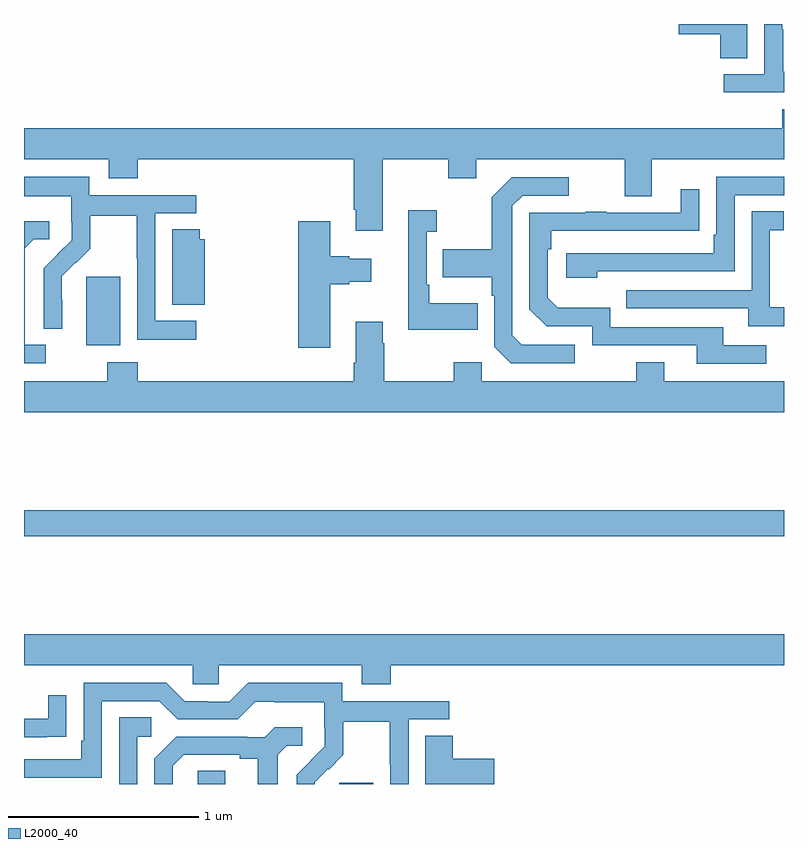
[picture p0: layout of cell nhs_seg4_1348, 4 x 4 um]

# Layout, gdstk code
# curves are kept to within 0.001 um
import gdstk
lib = gdstk.Library(unit=1e-6, precision=1e-09)
def R(c, l, rs):  # rectangles x0, y0, x1, y1
    for r in rs: c.add(gdstk.rectangle(r[:2], r[2:], *l))
def P(c, l, *ps):  # polygons
    for p in ps: c.add(gdstk.Polygon(p, *l))
L2000_40 = (2000, 40)

nhs_seg4_1348 = lib.new_cell('nhs_seg4_1348')
R(nhs_seg4_1348, L2000_40, [(181.914,758.9,182.059,758.969), (182.66,758.9,182.839,758.907), (181,760.204,185,760.34), (181.328,761.21,181.507,761.571)])
P(nhs_seg4_1348, L2000_40, [(184.807,762.9),(184.446,762.9),(184.446,762.845),(184.664,762.845),(184.664,762.721),(184.807,762.721)],
  [(185,762.649),(184.995,762.649),(184.995,762.872),(184.992,762.872),(184.992,762.9),(184.896,762.9),(184.896,762.636),(184.683,762.636),(184.683,762.54),(185,762.54)],
  [(181,762.188),(181.445,762.188),(181.445,762.089),(181.598,762.089),(181.598,762.188),(182.735,762.188),(182.735,761.923),(182.747,761.923),(182.747,761.811),(182.887,761.811),(182.887,762.188),(183.232,762.188),(183.232,762.089),(183.379,762.089),(183.379,762.188),(184.163,762.188),(184.163,761.994),(184.303,761.994),(184.303,762.188),(185,762.188),(185,762.451),(184.991,762.451),(184.991,762.352),(181,762.352)],
  [(181.906,761.337),(181.692,761.337),(181.692,761.904),(181.906,761.904),(181.906,762),(181.344,762),(181.344,762.097),(181,762.097),(181,761.993),(181.248,761.993),(181.248,761.859),(181.25,761.859),(181.25,761.762),(181.104,761.614),(181.104,761.296),(181.2,761.296),(181.199,761.573),(181.269,761.643),(181.272,761.64),(181.349,761.717),(181.349,761.892),(181.594,761.892),(181.594,761.668),(181.596,761.668),(181.596,761.239),(181.906,761.239)],
  [(184.016,761.598),(184.74,761.598),(184.74,762),(185,762),(185,762.096),(184.644,762.096),(184.644,761.791),(184.631,761.791),(184.631,761.694),(183.855,761.694),(183.855,761.564),(184.016,761.564)],
  [(183.898,761.211),(183.621,761.211),(183.57,761.262),(183.57,761.943),(183.624,761.997),(183.868,761.997),(183.868,762.093),(183.567,762.093),(183.462,761.987),(183.462,761.715),(183.205,761.715),(183.205,761.567),(183.462,761.567),(183.462,761.471),(183.474,761.471),(183.474,761.202),(183.561,761.115),(183.898,761.115)],
  [(184.906,761.208),(184.681,761.208),(184.681,761.304),(184.086,761.304),(184.086,761.407),(183.809,761.407),(183.756,761.46),(183.756,761.714),(183.776,761.714),(183.776,761.811),(184.553,761.812),(184.553,762.031),(184.457,762.031),(184.457,761.907),(184.067,761.907),(184.067,761.912),(183.955,761.912),(183.955,761.907),(183.66,761.907),(183.66,761.4),(183.75,761.31),(183.99,761.31),(183.99,761.208),(184.541,761.208),(184.541,761.112),(184.906,761.112)],
  [(183.389,761.431),(183.133,761.431),(183.133,761.527),(183.12,761.527),(183.12,761.807),(183.172,761.807),(183.172,761.92),(183.023,761.92),(183.023,761.291),(183.389,761.291)],
  [(185,761.409),(184.926,761.409),(184.926,761.814),(184.999,761.814),(184.999,761.915),(184.83,761.915),(184.83,761.499),(184.171,761.499),(184.171,761.403),(184.811,761.403),(184.811,761.309),(185,761.309)],
  [(181.114,761.211),(181.003,761.211),(181.003,761.719),(181.05,761.766),(181.132,761.766),(181.132,761.863),(181,761.863),(181,761.115),(181.114,761.115)],
  [(182.611,761.531),(182.711,761.531),(182.711,761.543),(182.827,761.543),(182.827,761.665),(182.711,761.665),(182.711,761.678),(182.611,761.678),(182.611,761.863),(182.444,761.863),(182.444,761.196),(182.611,761.196)],
  [(181.952,761.766),(181.925,761.766),(181.925,761.819),(181.781,761.819),(181.781,761.422),(181.952,761.422)],
  [(185,761.02),(184.369,761.02),(184.369,761.119),(184.222,761.119),(184.222,761.02),(183.408,761.02),(183.408,761.119),(183.262,761.119),(183.262,761.02),(182.895,761.02),(182.895,761.219),(182.887,761.219),(182.887,761.332),(182.747,761.332),(182.747,761.116),(182.735,761.116),(182.735,761.02),(181.598,761.02),(181.598,761.119),(181.438,761.119),(181.438,761.02),(181,761.02),(181,760.856),(185,760.856)],
  [(182.93,759.524),(185,759.524),(185,759.688),(181,759.688),(181,759.524),(181.887,759.524),(181.887,759.426),(182.025,759.426),(182.025,759.524),(182.777,759.524),(182.777,759.425),(182.93,759.425)],
  [(182.531,758.909),(182.601,758.979),(182.604,758.976),(182.681,759.053),(182.681,759.228),(182.926,759.228),(182.926,759.004),(182.928,759.004),(182.928,758.9),(183.024,758.9),(183.024,759.24),(183.238,759.24),(183.238,759.336),(182.676,759.336),(182.676,759.433),(182.179,759.433),(182.079,759.333),(181.964,759.333),(181.964,759.336),(181.845,759.336),(181.749,759.432),(181.314,759.432),(181.314,759.127),(181.301,759.127),(181.301,759.03),(181,759.03),(181,758.934),(181.41,758.934),(181.41,759.336),(181.713,759.336),(181.809,759.24),(182.124,759.24),(182.217,759.333),(182.317,759.333),(182.317,759.329),(182.58,759.329),(182.58,759.195),(182.582,759.195),(182.582,759.098),(182.436,758.95),(182.436,758.9),(182.531,758.9)],
  [(181.121,759.148),(181.223,759.148),(181.223,759.367),(181.127,759.367),(181.127,759.243),(181,759.243),(181,759.147),(181.121,759.147)],
  [(181.596,759.15),(181.669,759.15),(181.669,759.251),(181.5,759.251),(181.5,758.9),(181.596,758.9)],
  [(181.783,758.997),(181.84,759.054),(182.135,759.054),(182.135,759.032),(182.231,759.032),(182.231,758.9),(182.335,758.9),(182.335,759.055),(182.382,759.102),(182.464,759.102),(182.464,759.199),(182.32,759.199),(182.268,759.147),(182.174,759.147),(182.174,759.15),(181.802,759.15),(181.686,759.034),(181.686,758.9),(181.783,758.9)],
  [(183.475,759.032),(183.257,759.032),(183.257,759.155),(183.113,759.155),(183.113,758.9),(183.475,758.9)])

lib.write_gds('nhs_seg4_1348.gds')
